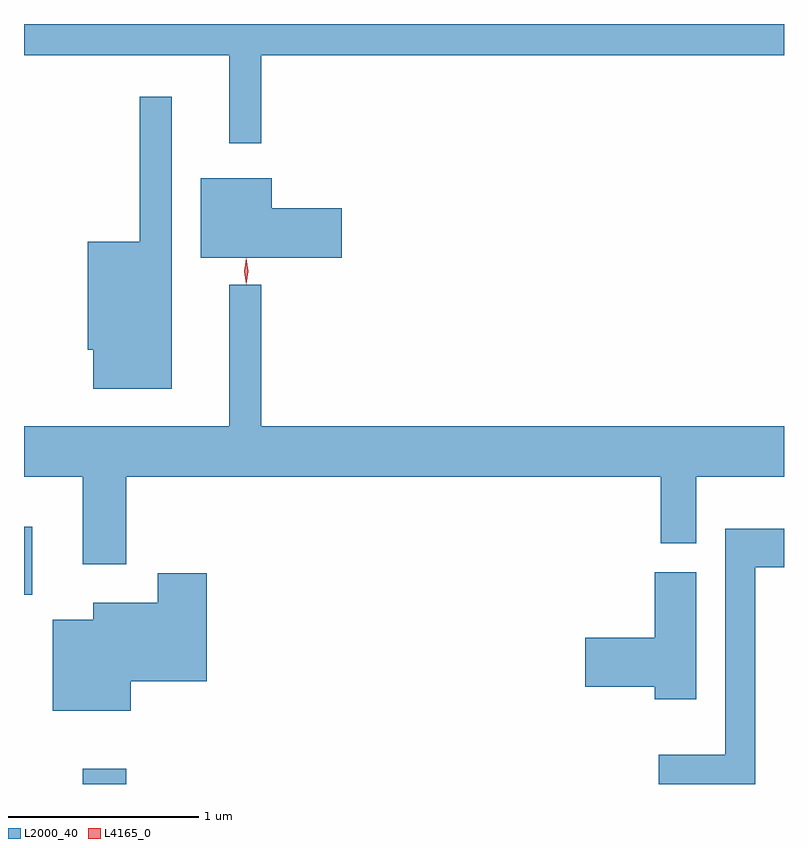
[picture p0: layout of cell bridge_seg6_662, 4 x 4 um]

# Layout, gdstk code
import gdstk
lib = gdstk.Library(unit=1e-6, precision=1e-09)
def R(c, l, rs):  # rectangles x0, y0, x1, y1
    for r in rs: c.add(gdstk.rectangle(r[:2], r[2:], *l))
def P(c, l, *ps):  # polygons
    for p in ps: c.add(gdstk.Polygon(p, *l))
L2000_40 = (2000, 40)
L4165_0 = (4165, 0)

bridge_seg6_662 = lib.new_cell('bridge_seg6_662')
R(bridge_seg6_662, L2000_40, [(384.331,1570.62,384.559,1570.699), (384.021,1571.616,384.064,1571.973)])
P(bridge_seg6_662, L2000_40, [(385.269,1574.456),(388.021,1574.456),(388.021,1574.62),(384.021,1574.62),(384.021,1574.456),(385.101,1574.456),(385.101,1573.993),(385.269,1573.993)],
  [(384.799,1574.238),(384.631,1574.238),(384.631,1573.474),(384.356,1573.474),(384.356,1572.906),(384.386,1572.906),(384.386,1572.701),(384.799,1572.701)],
  [(385.694,1573.649),(385.324,1573.649),(385.324,1573.809),(384.951,1573.809),(384.951,1573.391),(385.694,1573.391)],
  [(384.559,1572.236),(387.371,1572.236),(387.371,1571.886),(387.559,1571.886),(387.559,1572.236),(388.021,1572.236),(388.021,1572.504),(385.269,1572.504),(385.269,1573.248),(385.101,1573.248),(385.101,1572.504),(384.021,1572.504),(384.021,1572.236),(384.331,1572.236),(384.331,1571.776),(384.559,1571.776)],
  [(387.869,1571.761),(388.021,1571.761),(388.021,1571.964),(387.711,1571.964),(387.711,1570.774),(387.363,1570.774),(387.363,1570.62),(387.869,1570.62)],
  [(387.559,1571.734),(387.341,1571.734),(387.341,1571.389),(386.976,1571.389),(386.976,1571.131),(387.341,1571.131),(387.341,1571.066),(387.559,1571.066)],
  [(384.584,1571.161),(384.984,1571.161),(384.984,1571.729),(384.726,1571.729),(384.726,1571.574),(384.386,1571.574),(384.386,1571.484),(384.171,1571.484),(384.171,1571.006),(384.584,1571.006)])
P(bridge_seg6_662, L4165_0, [(385.19,1573.25),(385.19,1573.25),(385.181,1573.318),(385.192,1573.386),(385.192,1573.386),(385.192,1573.386),(385.201,1573.318),(385.191,1573.25)],
  [(385.19,1573.253),(385.19,1573.253),(385.18,1573.316),(385.19,1573.379),(385.19,1573.38),(385.191,1573.379),(385.2,1573.316),(385.191,1573.253)])

lib.write_gds('bridge_seg6_662.gds')
